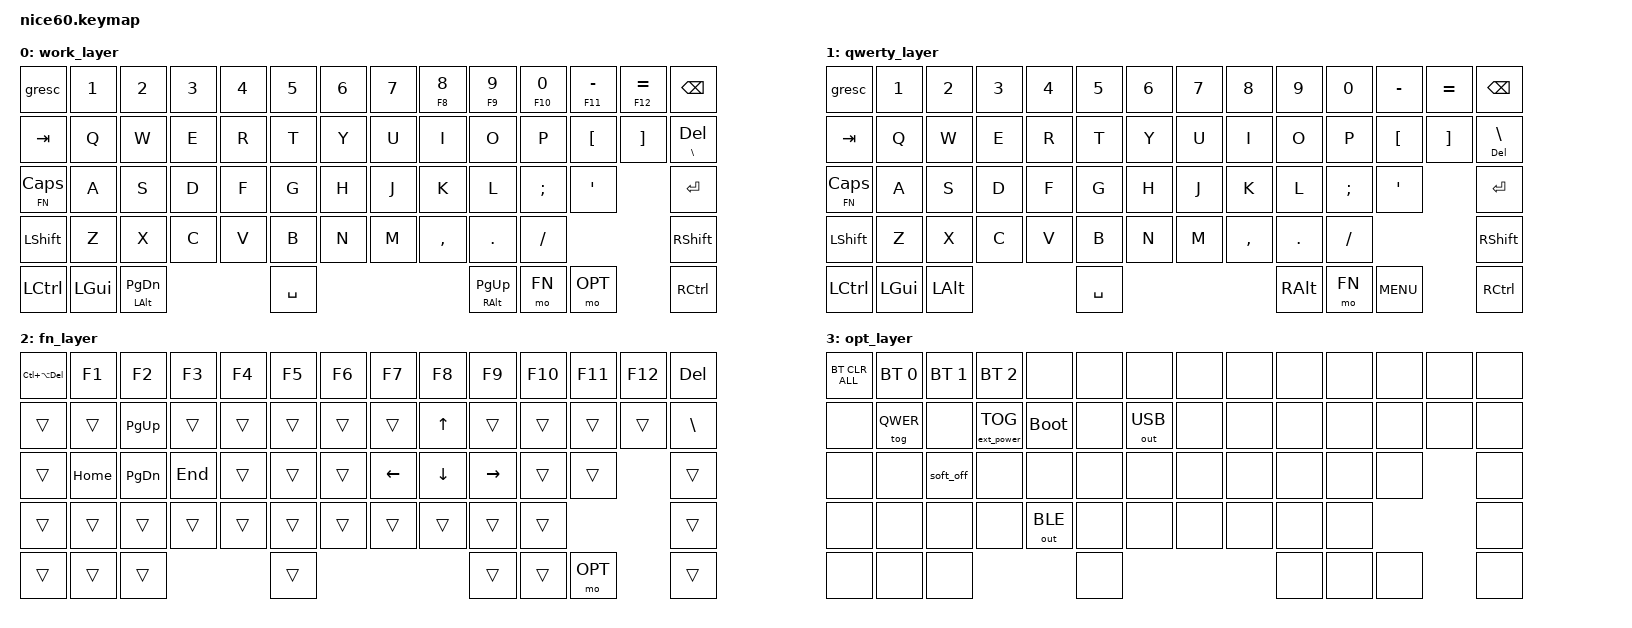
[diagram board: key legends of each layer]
// Copyright (c) 2024 Will Hedges (https://github.com/will-hedges)
// SPDX-License-Identifier: MIT

#include <behaviors.dtsi>
#include <dt-bindings/zmk/bt.h>
#include <dt-bindings/zmk/ext_power.h>
#include <dt-bindings/zmk/keys.h>
#include <dt-bindings/zmk/outputs.h>


#define WORK 0
#define QWER 1
#define FN   2
#define OPT  3


&lt {
    flavor = "hold-preferred";
};


/ {
    behaviors {
        gresc: grave_escape {
            compatible = "zmk,behavior-mod-morph";
            #binding-cells = <0>;
            bindings = <&kp ESC>, <&kp GRAVE>;
            mods = <(MOD_LGUI|MOD_LSFT|MOD_RGUI|MOD_RSFT)>;
        };

        tpht: tap_preferred_hold-tap {
            compatible = "zmk,behavior-hold-tap";
            #binding-cells = <2>;
            tapping-term-ms = <200>;
            quick-tap-ms = <0>;
            flavor = "tap-preferred";
            bindings = <&kp>, <&kp>;
        };
    };


    keymap {
        compatible = "zmk,keymap";

        work_layer {
            bindings = <

                &gresc       &kp N1    &kp N2          &kp N3  &kp N4  &kp N5     &kp N6  &kp N7  &tpht F8 N8  &tpht F9 N9     &tpht F10 N0  &tpht F11 MINUS  &tpht F12 EQUAL  &kp BSPC
                &kp TAB      &kp Q     &kp W           &kp E   &kp R   &kp T      &kp Y   &kp U   &kp I        &kp O           &kp P         &kp LBKT         &kp RBKT         &tpht BSLH DEL
                &lt FN CAPS  &kp A     &kp S           &kp D   &kp F   &kp G      &kp H   &kp J   &kp K        &kp L           &kp SEMI      &kp SQT                           &kp RET
                &kp LSHFT    &kp Z     &kp X           &kp C   &kp V   &kp B      &kp N   &kp M   &kp COMMA    &kp DOT         &kp FSLH                                        &kp RSHFT
                &kp LCTRL    &kp LGUI  &mt LALT PG_DN                  &kp SPACE                               &mt RALT PG_UP  &mo FN        &mo OPT                           &kp RCTRL
            
            >;
        };

        qwerty_layer {
            bindings = <
            
                &gresc       &kp N1    &kp N2    &kp N3  &kp N4  &kp N5     &kp N6  &kp N7  &kp N8     &kp N9    &kp N0    &kp MINUS  &kp EQUAL  &kp BSPC
                &kp TAB      &kp Q     &kp W     &kp E   &kp R   &kp T      &kp Y   &kp U   &kp I      &kp O     &kp P     &kp LBKT   &kp RBKT   &tpht DEL BSLH
                &lt FN CAPS  &kp A     &kp S     &kp D   &kp F   &kp G      &kp H   &kp J   &kp K      &kp L     &kp SEMI  &kp SQT               &kp RET
                &kp LSHFT    &kp Z     &kp X     &kp C   &kp V   &kp B      &kp N   &kp M   &kp COMMA  &kp DOT   &kp FSLH                        &kp RSHFT
                &kp LCTRL    &kp LGUI  &kp LALT                  &kp SPACE                             &kp RALT  &mo FN    &kp C_MENU            &kp RCTRL
            
            >;
        };

        fn_layer {
            bindings = <
            
                &kp LC(LA(DEL))  &kp F1    &kp F2     &kp F3   &kp F4  &kp F5  &kp F6   &kp F7    &kp F8    &kp F9     &kp F10  &kp F11  &kp F12  &kp DEL
                &trans           &trans    &kp PG_UP  &trans   &trans  &trans  &trans   &trans    &kp UP    &trans     &trans   &trans   &trans   &kp BSLH
                &trans           &kp HOME  &kp PG_DN  &kp END  &trans  &trans  &trans   &kp LEFT  &kp DOWN  &kp RIGHT  &trans   &trans            &trans
                &trans           &trans    &trans     &trans   &trans  &trans  &trans   &trans    &trans    &trans     &trans                     &trans
                &trans           &trans    &trans                      &trans                               &trans     &trans   &mo OPT           &trans
            
            >;
        };

        opt_layer {
            bindings = <

                &bt BT_CLR_ALL  &bt BT_SEL 0  &bt BT_SEL 1  &bt BT_SEL 2       &none         &none  &none         &none  &none  &none  &none  &none  &none  &none
                &none           &tog QWER     &none         &ext_power EP_TOG  &bootloader   &none  &out OUT_USB  &none  &none  &none  &none  &none  &none  &none 
                &none           &none         &soft_off     &none              &none         &none  &none         &none  &none  &none  &none  &none         &none 
                &none           &none         &none         &none              &out OUT_BLE  &none  &none         &none  &none  &none  &none                &none 
                &none           &none         &none                                          &none                              &none  &none  &none         &none 
            
            >;
        };
    };
};
